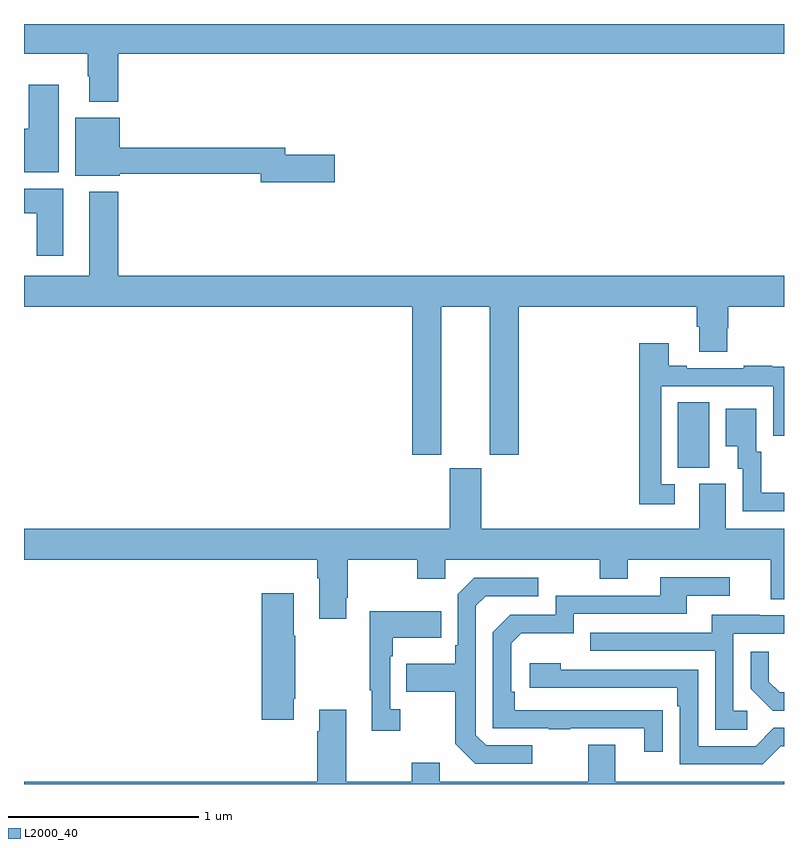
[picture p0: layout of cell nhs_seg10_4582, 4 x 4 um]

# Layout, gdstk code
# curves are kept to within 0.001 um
import gdstk
lib = gdstk.Library(unit=1e-6, precision=1e-09)
def R(c, l, rs):  # rectangles x0, y0, x1, y1
    for r in rs: c.add(gdstk.rectangle(r[:2], r[2:], *l))
def P(c, l, *ps):  # polygons
    for p in ps: c.add(gdstk.Polygon(p, *l))
L2000_40 = (2000, 40)

nhs_seg10_4582 = lib.new_cell('nhs_seg10_4582')
R(nhs_seg10_4582, L2000_40, [(376.442,1270.165,376.606,1270.508)])
P(nhs_seg10_4582, L2000_40, [(373.496,1272.344),(377,1272.344),(377,1272.5),(373,1272.5),(373,1272.344),(373.336,1272.344),(373.336,1272.224),(373.343,1272.224),(373.343,1272.092),(373.496,1272.092)],
  [(373.183,1272.181),(373.025,1272.181),(373.025,1271.95),(373,1271.95),(373,1271.72),(373.183,1271.72)],
  [(374.635,1271.813),(374.374,1271.813),(374.374,1271.849),(373.504,1271.849),(373.504,1272.007),(373.271,1272.007),(373.271,1271.702),(373.504,1271.702),(373.504,1271.713),(374.246,1271.713),(374.246,1271.666),(374.635,1271.666)],
  [(373.207,1271.632),(373,1271.632),(373,1271.504),(373.067,1271.504),(373.067,1271.28),(373.207,1271.28)],
  [(373.496,1271.617),(373.343,1271.617),(373.343,1271.176),(373,1271.176),(373,1271.012),(375.044,1271.012),(375.044,1270.233),(375.196,1270.233),(375.196,1271.012),(375.452,1271.012),(375.452,1270.233),(375.605,1270.233),(375.605,1271.012),(376.541,1271.012),(376.541,1270.906),(376.553,1270.906),(376.553,1270.774),(376.701,1270.774),(376.701,1270.899),(376.706,1270.899),(376.706,1271.012),(377,1271.012),(377,1271.176),(373.496,1271.176)],
  [(376.426,1270.077),(376.353,1270.077),(376.353,1270.593),(376.944,1270.593),(376.944,1270.332),(377,1270.332),(377,1270.695),(376.937,1270.695),(376.937,1270.702),(376.789,1270.702),(376.789,1270.689),(376.489,1270.689),(376.489,1270.702),(376.393,1270.702),(376.393,1270.819),(376.237,1270.819),(376.237,1269.972),(376.426,1269.972)],
  [(377,1270.032),(376.879,1270.032),(376.879,1270.248),(376.855,1270.248),(376.855,1270.474),(376.694,1270.474),(376.694,1270.277),(376.757,1270.277),(376.757,1270.158),(376.782,1270.158),(376.782,1269.936),(377,1269.936)],
  [(374.695,1269.481),(374.703,1269.481),(374.703,1269.68),(375.07,1269.68),(375.07,1269.581),(375.216,1269.581),(375.216,1269.68),(376.03,1269.68),(376.03,1269.581),(376.177,1269.581),(376.177,1269.68),(376.931,1269.68),(376.931,1269.472),(377,1269.472),(377,1269.844),(376.693,1269.844),(376.693,1270.08),(376.553,1270.08),(376.553,1269.844),(375.406,1269.844),(375.406,1270.161),(375.242,1270.161),(375.242,1269.844),(373,1269.844),(373,1269.68),(374.543,1269.68),(374.543,1269.584),(374.555,1269.584),(374.555,1269.369),(374.695,1269.369)],
  [(376.361,1268.888),(375.584,1268.889),(375.584,1268.986),(375.564,1268.986),(375.564,1269.24),(375.617,1269.293),(375.894,1269.293),(375.894,1269.396),(376.489,1269.396),(376.489,1269.492),(376.714,1269.492),(376.714,1269.588),(376.349,1269.588),(376.349,1269.492),(375.798,1269.492),(375.798,1269.39),(375.558,1269.39),(375.468,1269.3),(375.468,1268.793),(375.763,1268.793),(375.763,1268.788),(375.875,1268.788),(375.875,1268.793),(376.265,1268.793),(376.265,1268.67),(376.361,1268.67)],
  [(375.676,1268.703),(375.432,1268.703),(375.378,1268.757),(375.378,1269.438),(375.429,1269.489),(375.706,1269.489),(375.706,1269.585),(375.369,1269.585),(375.282,1269.498),(375.282,1269.229),(375.27,1269.229),(375.27,1269.133),(375.013,1269.133),(375.013,1268.986),(375.27,1268.986),(375.27,1268.713),(375.375,1268.607),(375.676,1268.607)],
  [(374.419,1268.95),(374.427,1268.95),(374.427,1269.281),(374.419,1269.281),(374.419,1269.505),(374.252,1269.505),(374.252,1268.838),(374.419,1268.838)],
  [(374.98,1268.894),(374.928,1268.894),(374.928,1269.173),(374.941,1269.173),(374.941,1269.269),(375.197,1269.269),(375.197,1269.409),(374.82,1269.409),(374.82,1268.993),(374.831,1268.993),(374.831,1268.781),(374.98,1268.781)],
  [(376.807,1268.886),(376.734,1268.886),(376.734,1269.291),(377,1269.291),(377,1269.387),(376.873,1269.387),(376.873,1269.391),(376.619,1269.391),(376.619,1269.297),(375.979,1269.297),(375.979,1269.201),(376.638,1269.201),(376.638,1268.785),(376.807,1268.785)],
  [(377,1268.982),(376.978,1268.982),(376.921,1269.039),(376.921,1269.196),(376.824,1269.196),(376.824,1269.002),(376.94,1268.886),(377,1268.886)],
  [(376.983,1268.7),(377,1268.7),(377,1268.796),(376.947,1268.796),(376.851,1268.7),(376.548,1268.7),(376.548,1269.102),(375.824,1269.102),(375.824,1269.136),(375.663,1269.136),(375.663,1269.006),(376.439,1269.006),(376.439,1268.909),(376.452,1268.909),(376.452,1268.604),(376.887,1268.604)],
  [(377,1268.512),(376.111,1268.512),(376.111,1268.707),(375.971,1268.707),(375.971,1268.512),(375.187,1268.512),(375.187,1268.611),(375.04,1268.611),(375.04,1268.512),(374.695,1268.512),(374.695,1268.89),(374.555,1268.89),(374.555,1268.777),(374.543,1268.777),(374.543,1268.512),(373,1268.512),(373,1268.5),(377,1268.5)])

lib.write_gds('nhs_seg10_4582.gds')
